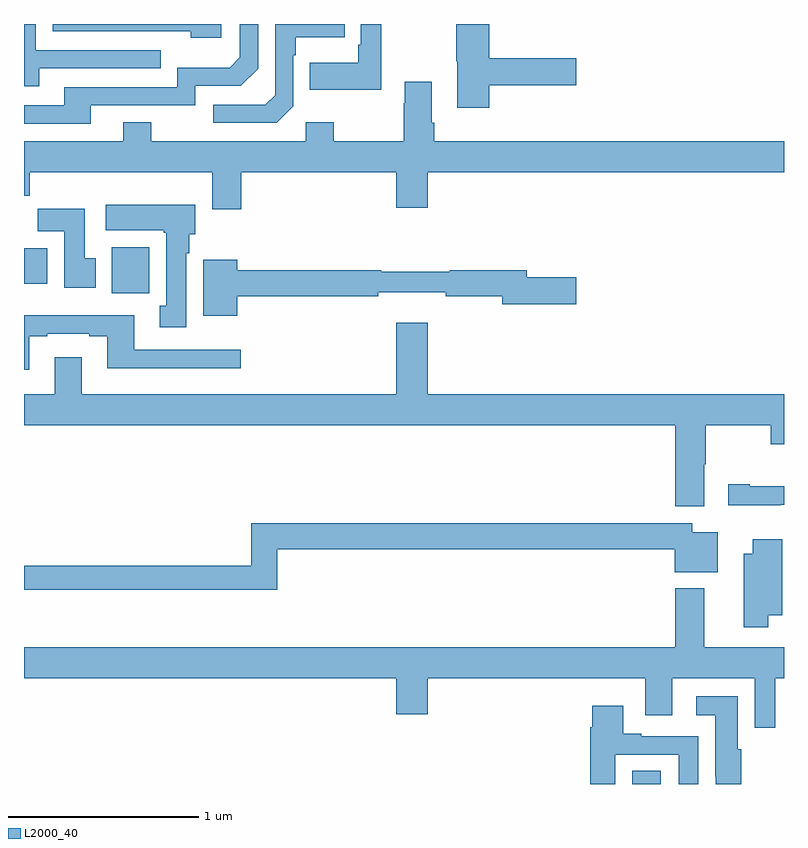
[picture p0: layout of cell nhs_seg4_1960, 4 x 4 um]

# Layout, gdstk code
import gdstk
lib = gdstk.Library(unit=1e-6, precision=1e-09)
def R(c, l, rs):  # rectangles x0, y0, x1, y1
    for r in rs: c.add(gdstk.rectangle(r[:2], r[2:], *l))
def P(c, l, *ps):  # polygons
    for p in ps: c.add(gdstk.Polygon(p, *l))
L2000_40 = (2000, 40)

nhs_seg4_1960 = lib.new_cell('nhs_seg4_1960')
R(nhs_seg4_1960, L2000_40, [(214.202,826.9,214.351,826.97), (211.463,829.484,211.66,829.726), (211,829.532,211.123,829.72)])
P(nhs_seg4_1960, L2000_40, [(213.449,830.578),(213.907,830.578),(213.907,830.72),(213.449,830.72),(213.449,830.9),(213.274,830.9),(213.274,830.703),(213.281,830.703),(213.281,830.46),(213.449,830.46)],
  [(211.351,830.472),(211.902,830.472),(211.902,830.574),(212.142,830.574),(212.232,830.664),(212.232,830.9),(212.136,830.9),(212.136,830.724),(212.083,830.671),(211.806,830.671),(211.806,830.568),(211.211,830.568),(211.211,830.472),(211,830.472),(211,830.376),(211.351,830.376)],
  [(212.881,830.9),(212.772,830.9),(212.772,830.791),(212.76,830.791),(212.76,830.695),(212.503,830.695),(212.503,830.555),(212.881,830.555)],
  [(211.081,830.667),(211.721,830.667),(211.721,830.763),(211.062,830.763),(211.062,830.9),(211,830.9),(211,830.573),(211.081,830.573)],
  [(212.038,830.9),(211.152,830.9),(211.152,830.862),(211.877,830.862),(211.877,830.828),(212.038,830.828)],
  [(212.418,830.466),(212.418,830.735),(212.431,830.735),(212.431,830.831),(212.687,830.831),(212.687,830.9),(212.322,830.9),(212.322,830.526),(212.271,830.475),(211.995,830.475),(211.995,830.379),(212.331,830.379)],
  [(212.144,830.12),(212.96,830.12),(212.96,829.932),(213.124,829.932),(213.124,830.12),(215,830.12),(215,830.284),(213.158,830.284),(213.158,830.38),(213.145,830.38),(213.145,830.596),(213.005,830.596),(213.005,830.483),(212.998,830.483),(212.998,830.284),(212.631,830.284),(212.631,830.383),(212.484,830.383),(212.484,830.284),(211.671,830.284),(211.671,830.383),(211.523,830.383),(211.523,830.284),(211,830.284),(211,829.996),(211.031,829.996),(211.031,830.12),(211.991,830.12),(211.991,829.926),(212.144,829.926)],
  [(211.855,829.694),(211.87,829.694),(211.87,829.794),(211.9,829.794),(211.9,829.948),(211.431,829.948),(211.431,829.814),(211.735,829.814),(211.735,829.801),(211.748,829.801),(211.748,829.418),(211.715,829.418),(211.715,829.305),(211.855,829.305)],
  [(211.378,829.668),(211.321,829.668),(211.321,829.927),(211.072,829.927),(211.072,829.808),(211.211,829.808),(211.211,829.512),(211.378,829.512)],
  [(212.122,829.468),(212.864,829.468),(212.864,829.487),(213.22,829.487),(213.22,829.468),(213.518,829.468),(213.518,829.426),(213.907,829.426),(213.907,829.568),(213.646,829.568),(213.646,829.604),(213.242,829.604),(213.242,829.597),(212.88,829.597),(212.88,829.604),(212.122,829.604),(212.122,829.66),(211.943,829.66),(211.943,829.364),(212.122,829.364)],
  [(211.027,829.257),(211.123,829.257),(211.123,829.269),(211.343,829.269),(211.343,829.257),(211.439,829.257),(211.439,829.088),(212.14,829.088),(212.14,829.185),(211.579,829.185),(211.579,829.366),(211,829.366),(211,829.08),(211.027,829.08)],
  [(214.579,828.584),(214.587,828.584),(214.587,828.788),(214.93,828.788),(214.93,828.689),(215,828.689),(215,828.952),(213.124,828.952),(213.124,829.327),(212.96,829.327),(212.96,828.952),(211.303,828.952),(211.303,829.147),(211.163,829.147),(211.163,828.952),(211,828.952),(211,828.788),(214.427,828.788),(214.427,828.363),(214.579,828.363)],
  [(214.982,828.369),(215,828.369),(215,828.468),(214.819,828.468),(214.819,828.478),(214.707,828.478),(214.707,828.368),(214.982,828.368)],
  [(212.333,828.136),(214.424,828.136),(214.424,828.014),(214.651,828.014),(214.651,828.226),(214.518,828.226),(214.518,828.272),(212.197,828.272),(212.197,828.05),(211,828.05),(211,827.922),(212.333,827.922)],
  [(214.917,827.789),(214.99,827.789),(214.99,828.187),(214.835,828.187),(214.835,828.112),(214.787,828.112),(214.787,827.724),(214.917,827.724)],
  [(214.954,827.456),(215,827.456),(215,827.62),(214.579,827.62),(214.579,827.929),(214.427,827.929),(214.427,827.62),(211,827.62),(211,827.456),(212.96,827.456),(212.96,827.268),(213.124,827.268),(213.124,827.456),(214.271,827.456),(214.271,827.262),(214.411,827.262),(214.411,827.456),(214.845,827.456),(214.845,827.196),(214.954,827.196)],
  [(214.774,827.082),(214.756,827.082),(214.756,827.362),(214.539,827.362),(214.539,827.261),(214.637,827.261),(214.637,826.942),(214.641,826.942),(214.641,826.9),(214.774,826.9)],
  [(214.111,827.055),(214.445,827.055),(214.445,826.9),(214.549,826.9),(214.549,827.151),(214.249,827.151),(214.249,827.164),(214.153,827.164),(214.153,827.311),(213.992,827.311),(213.992,827.198),(213.98,827.198),(213.98,826.9),(214.111,826.9)])

lib.write_gds('nhs_seg4_1960.gds')
